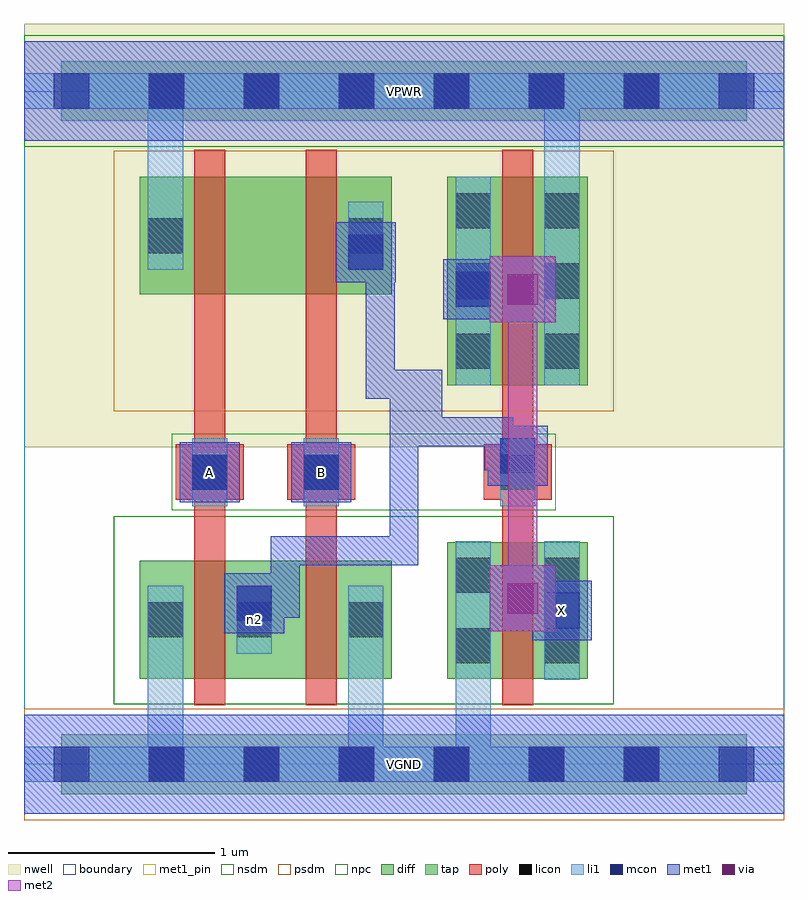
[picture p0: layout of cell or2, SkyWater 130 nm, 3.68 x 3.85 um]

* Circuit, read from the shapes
.subckt or2 A B VGND VPWR X n2
XM1 n2 A VGND VGND sky130_fd_pr__nfet_01v8 w=0.57 l=0.15
XM2 VGND B n2 VGND sky130_fd_pr__nfet_01v8 w=0.57 l=0.15
XM3 X n2 VGND VGND sky130_fd_pr__nfet_01v8 w=0.66 l=0.15
XM4 n1 A VPWR VPWR sky130_fd_pr__pfet_01v8 w=0.57 l=0.15
XM5 n2 B n1 VPWR sky130_fd_pr__pfet_01v8 w=0.57 l=0.15
XM6 VPWR n2 X VPWR sky130_fd_pr__pfet_01v8 w=1.01 l=0.15
.ends

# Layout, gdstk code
import gdstk
lib = gdstk.Library(unit=1e-6, precision=1e-09)
def R(c, l, rs):  # rectangles x0, y0, x1, y1
    for r in rs: c.add(gdstk.rectangle(r[:2], r[2:], *l))
def A(c, l, x, y, w, h, nx, ny, dx, dy):  # array of equal rectangles
    R(c, l, [(x+i*dx, y+j*dy, x+i*dx+w, y+j*dy+h) for i in range(nx) for j in range(ny)])
nwell = (64, 20)
diff = (65, 20)
tap = (65, 44)
poly = (66, 20)
licon = (66, 44)
li1 = (67, 20)
mcon = (67, 44)
met1_pin = (68, 16)
met1 = (68, 20)
via = (68, 44)
met2 = (69, 20)
nsdm = (93, 44)
psdm = (94, 20)
npc = (95, 20)
boundary = (235, 4)

or2 = lib.new_cell('or2')
R(or2, nwell, [(0,1.535,3.68,3.585)])
R(or2, diff, [(0.56,0.415,1.78,0.985), (2.05,0.415,2.73,1.075), (2.05,1.835,2.73,2.845), (0.56,2.275,1.78,2.845)])
R(or2, tap, [(0.18,-0.145,3.5,0.145), (0.18,3.115,3.5,3.405)])
R(or2, poly, [(0.825,0.285,0.975,2.975), (1.365,0.285,1.515,2.975), (2.315,0.285,2.465,2.975), (0.735,1.28,1.065,1.55), (1.275,1.28,1.605,1.55), (2.225,1.28,2.555,1.55)])
A(or2, licon, 0.605, -0.085, 0.17, 0.17, 6, 2, 0.46, 3.26)
A(or2, licon, 2.09, 1.915, 0.17, 0.17, 1, 3, 0, 0.34)
A(or2, licon, 2.52, 1.915, 0.17, 0.17, 1, 3, 0, 0.34)
R(or2, licon, [(2.09,0.49,2.26,0.66), (2.52,0.49,2.69,0.66), (0.6,0.615,0.77,0.785), (1.03,0.615,1.2,0.785), (1.57,0.615,1.74,0.785), (2.09,0.83,2.26,1), (2.52,0.83,2.69,1), (0.815,1.33,0.985,1.5), (1.355,1.33,1.525,1.5), (2.305,1.33,2.475,1.5), (0.6,2.475,0.77,2.645), (1.57,2.475,1.74,2.645)])
R(or2, li1, [(0,-0.085,3.68,0.085), (0.6,-0.085,0.77,0.865), (1.57,-0.085,1.74,0.865), (2.09,-0.085,2.26,1.08), (2.09,0.41,2.26,1.08), (2.52,0.41,2.69,1.08), (0.6,0.535,0.77,0.865), (1.03,0.535,1.2,0.865), (1.57,0.535,1.74,0.865), (0.815,1.25,0.985,1.58), (1.355,1.25,1.525,1.58), (2.305,1.25,2.475,1.58), (2.09,1.835,2.26,2.845), (2.52,1.835,2.69,2.845), (2.52,1.835,2.69,3.345), (0.6,2.395,0.77,2.725), (0.6,2.395,0.77,3.345), (1.57,2.395,1.74,2.725), (0,3.175,3.68,3.345)])
A(or2, mcon, 0.145, -0.085, 0.17, 0.17, 8, 2, 0.46, 3.26)
R(or2, mcon, [(2.52,0.66,2.69,0.83), (1.03,0.695,1.2,0.865), (0.815,1.33,0.985,1.5), (1.355,1.33,1.525,1.5), (2.305,1.41,2.475,1.58), (2.09,2.215,2.26,2.385), (1.57,2.395,1.74,2.565)])
R(or2, met1_pin, [(0,-0.24,3.68,0.24), (2.46,0.6,2.75,0.89), (0.755,1.27,1.045,1.56), (1.295,1.27,1.585,1.56), (0,3.02,3.68,3.5)])
R(or2, met1, [(0,-0.24,3.68,0.24), (2.46,0.6,2.75,0.89), (0.97,0.635,1.26,0.925), (2.255,0.645,2.575,0.965), (1.045,0.71,1.335,0.85), (1.195,0.71,1.335,0.99), (2.345,0.735,2.6,0.875), (2.46,0.735,2.6,0.875), (1.195,0.85,1.335,1.105), (1.195,0.965,1.91,1.105), (1.77,0.965,1.91,1.68), (0.755,1.27,1.045,1.56), (1.295,1.27,1.585,1.56), (2.245,1.35,2.535,1.64), (2.23,1.425,2.46,1.565), (2.23,1.425,2.37,1.68), (1.77,1.54,2.025,1.68), (1.885,1.54,2.025,1.91), (1.885,1.54,2.37,1.68), (1.77,1.68,1.795,1.77), (1.77,1.68,2.025,1.77), (1.77,1.68,1.91,1.77), (1.655,1.77,1.795,2.37), (1.655,1.77,2.025,1.91), (2.255,2.14,2.575,2.46), (2.03,2.155,2.32,2.445), (1.655,2.23,1.795,2.55), (2.105,2.23,2.37,2.37), (2.23,2.23,2.485,2.37), (1.51,2.335,1.8,2.625), (1.585,2.41,1.795,2.55), (0,3.02,3.68,3.5)])
R(or2, via, [(2.34,0.73,2.49,0.88), (2.34,2.225,2.49,2.375)])
R(or2, met2, [(2.255,0.645,2.575,0.965), (2.345,0.735,2.485,2.37), (2.255,2.14,2.575,2.46)])
R(or2, nsdm, [(0.435,0.29,2.855,1.2), (0,2.99,3.68,3.53)])
R(or2, psdm, [(0,-0.27,3.68,0.27), (0.435,1.71,2.855,2.97)])
R(or2, npc, [(0.715,1.23,2.575,1.6)])
R(or2, boundary, [(0,0,3.68,3.26)])
or2.add(gdstk.Label('n2', (1.115,0.7), layer=67, texttype=5))
or2.add(gdstk.Label('A', (0.9,1.415), layer=68, texttype=5))
or2.add(gdstk.Label('B', (1.44,1.415), layer=68, texttype=5))
or2.add(gdstk.Label('X', (2.605,0.745), layer=68, texttype=5))
or2.add(gdstk.Label('VPWR', (1.84,3.26), layer=68, texttype=5))
or2.add(gdstk.Label('VGND', (1.84,0), layer=68, texttype=5))
or2.add(gdstk.Label('A', (0.9,1.415), layer=68, texttype=16))
or2.add(gdstk.Label('B', (1.44,1.415), layer=68, texttype=16))
or2.add(gdstk.Label('X', (2.605,0.745), layer=68, texttype=16))
or2.add(gdstk.Label('VPWR', (1.84,3.26), layer=68, texttype=16))
or2.add(gdstk.Label('VGND', (1.84,0), layer=68, texttype=16))

lib.write_gds('or2.gds')
